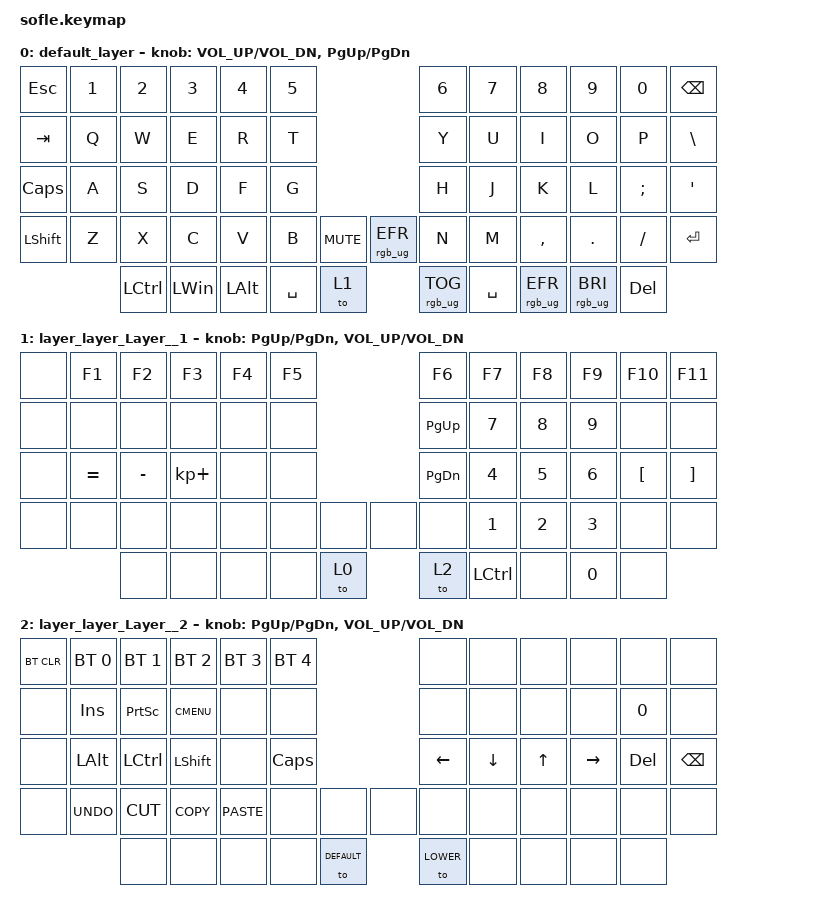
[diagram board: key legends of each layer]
#include <behaviors.dtsi>
#include <dt-bindings/zmk/keys.h>
#include <dt-bindings/zmk/bt.h>
#include <dt-bindings/zmk/rgb.h>


#define DEFAULT 0 
#define LOWER   1
#define RAISE   2

/ {
    keymap {
        compatible = "zmk,keymap";
// -------------------------------------------------------------------------------------------------------------
// |  ESC  |  1  |  2  |  3   |  4   |  5    |                     |  6    |  7    |  8    |  9   |   0   |   \   |
// |  TAB  |  Q  |  W  |  E   |  R   |  T    |                     |  Y    |  U    |  I    |  O   |   P   |   -   |
// |  CAPS |  A  |  S  |  D   |  F   |  G    |                     |  H    |  J    |  K    |  L   |   ;   |   '   |
// | SHIFT |  Z  |  X  |  C   |  V   |  B    |  MUTE |    | RGBEFR |  N    |  M    |  ,    |  .   |   /   | SHIFT |
//               | CTRL | GUI | ALT  | SPC   | TOG 1 |    | RGBTOG | SPACE | ENTER |       | GUI  |
        default_layer {
            bindings = <
&kp ESC     &kp N1    &kp N2    &kp N3    &kp N4   &kp N5                                     &kp N6      &kp N7     &kp N8      &kp N9     &kp N0       &kp BACKSPACE
&kp TAB     &kp Q     &kp W     &kp E     &kp R    &kp T                                      &kp Y       &kp U      &kp I       &kp O      &kp P        &kp BACKSLASH
&kp CAPS    &kp A     &kp S     &kp D     &kp F    &kp G                                      &kp H       &kp J      &kp K       &kp L      &kp SEMI     &kp APOS
&kp LSHIFT  &kp Z     &kp X     &kp C     &kp V    &kp B  &kp C_MUTE         &rgb_ug RGB_EFR  &kp N       &kp M      &kp COMMA   &kp PERIOD &kp SLASH    &kp ENTER
                      &kp LCTRL  &kp LWIN  &kp LALT  &kp SPACE  &to 1        &rgb_ug RGB_TOG  &kp SPACE   &rgb_ug RGB_EFR   &rgb_ug RGB_BRI    &kp DEL

            >;
            sensor-bindings = <&inc_dec_kp C_VOL_UP C_VOL_DN &inc_dec_kp PG_UP PG_DN>;

        };

        layer_layer_Layer__1 {
// TODO: Some binds are waiting for shifted keycode support.
// ------------------------------------------------------------------------------------------------------------
// |      |  F1 |  F2 |  F3  |  F4  |  F5  |                   |  F6  |  F7   |  F8   |  F9  |  F10  |  F11  |
// |      |     |     |      |      |      |                   | PGUP |   7   |   8   |   9  |       |       |
// |      |  =  |  -  |  +   |      |      |                   | PGDN |   4   |   5   |   6  |   [   |   ]   |
// |      |     |     |      |      |      |        |  |       |      |   1   |   2   |   3  |       |       |
//              |     |      |      |      |        |  |       | CTRL |       |   0   |      |
            bindings = <
&none   &kp F1    &kp F2    &kp F3      &kp F4    &kp F5                            &kp F6     &kp F7   &kp F8   &kp F9    &kp F10   &kp F11
&none   &none    &none    &none      &none    &none                            &kp PG_UP  &kp N7   &kp N8   &kp N9    &none    &none
&none   &kp EQUAL &kp MINUS &kp KP_PLUS &none    &none                            &kp PG_DN  &kp N4   &kp N5   &kp N6    &kp LBKT  &kp RBKT
&none   &none    &none    &none      &none    &none  &none         &none     &none     &kp N1   &kp N2   &kp N3    &none    &none
                   &none    &none      &none    &none  &to 0   &to 2  &kp LCTRL  &none   &kp N0   &none
            >;

            sensor-bindings = <&inc_dec_kp PG_UP PG_DN &inc_dec_kp C_VOL_UP C_VOL_DN>;
        };

        layer_layer_Layer__2  {
// ------------------------------------------------------------------------------------------------------------
// |BTCLR| BT1  | BT2  |  BT3  |  BT4  |  BT5 |                |      |      |       |      |       |       |
// |     | INS  | PSCR | GUI   |       |      |                |      |      |       |      |       |       |
// |     | ALT  | CTRL | SHIFT |       | CAPS |                |  <-  |   v  |   ^   |  ->  |  DEL  | BKSPC |
// |     | UNDO | CUT  | COPY  | PASTE |      |      |  |      |      |      |       |      |       |       |
//              |      |       |       |      |      |  |      |      |      |       |      |
            bindings = <
&bt BT_CLR &bt BT_SEL 0 &bt BT_SEL 1 &bt BT_SEL 2 &bt BT_SEL 3 &bt BT_SEL 4                     &none    &none    &none   &none      &none    &none
&none     &kp INS      &kp PSCRN    &kp K_CMENU  &none       &none                           &none    &none    &none   &none      &kp N0    &none
&none     &kp LALT     &kp LCTRL    &kp LSHFT    &none       &kp CLCK                         &kp LEFT  &kp DOWN  &kp UP   &kp RIGHT   &kp DEL   &kp BSPC
&none     &kp K_UNDO   &kp K_CUT    &kp K_COPY   &kp K_PASTE  &none  &none        &none     &none    &none    &none   &none      &none    &none
                        &none       &none       &none       &none  &to DEFAULT   &to LOWER  &none    &none    &none   &none
            >;

            sensor-bindings = <&inc_dec_kp PG_UP PG_DN &inc_dec_kp C_VOL_UP C_VOL_DN>;
        };
    };
};
